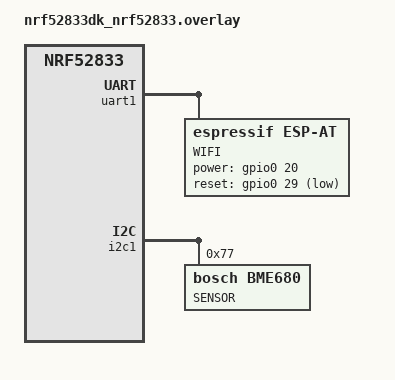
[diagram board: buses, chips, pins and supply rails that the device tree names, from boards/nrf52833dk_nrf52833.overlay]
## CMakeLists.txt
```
cmake_minimum_required(VERSION 3.20.0)
find_package(Zephyr REQUIRED HINTS $ENV{ZEPHYR_BASE})
project(weather-station)

target_sources(app PRIVATE src/main.c)
# target_sources(app PRIVATE src/easy_mqtt.c)
target_sources(app PRIVATE src/easy_wifi.c)
target_sources(app PRIVATE src/time.c)
```

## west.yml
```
manifest:
  version: "0.12"

  remotes:
    - name: github
      url-base: https://github.com

  defaults:
    remote: github
    revision: main

  projects:
    - name: zephyr
      repo-path: dp7hgh7/zephyr.git
      import: true

  self:
    path: app
```

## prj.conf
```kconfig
CONFIG_BME680=y
CONFIG_BOOT_BANNER=n
CONFIG_DNS_RESOLVER=y
CONFIG_HWINFO=y
CONFIG_I2C=y
CONFIG_LOG=y
CONFIG_LOG_MODE_IMMEDIATE=y
CONFIG_MAIN_STACK_SIZE=4096
CONFIG_MQTT_LIB=y
CONFIG_NETWORKING=y
CONFIG_NET_BUF_LOG=y
CONFIG_NET_CONFIG_NEED_IPV4=y
CONFIG_NET_LOG=y
CONFIG_NET_MGMT=y
CONFIG_NET_SOCKETS=y
CONFIG_NET_TCP=y
CONFIG_NEWLIB_LIBC=y
CONFIG_POSIX_CLOCK=y
CONFIG_SENSOR=y
CONFIG_SERIAL=y
CONFIG_SNTP=y
CONFIG_WIFI=y
CONFIG_WIFI_ESP_AT=y
CONFIG_WIFI_ESP_AT_DNS_USE=y
CONFIG_WIFI_ESP_AT_PASSIVE_MODE=y

# Needed for segger rtt
CONFIG_LEGACY_INCLUDE_PATH=y
```

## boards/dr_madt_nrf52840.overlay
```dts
&i2c0 {
	sensor: bme680@77 {
		compatible = "bosch,bme680";
		reg = <0x77>;
	};
};
```

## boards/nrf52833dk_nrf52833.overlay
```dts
&uart1 {
	status = "okay";

	wifi: esp-wifi {
		compatible = "espressif,esp-at";
		power-gpios = <&gpio0 20 GPIO_ACTIVE_HIGH>;
		reset-gpios = <&gpio0 29 GPIO_ACTIVE_LOW>;
		label = "WIFI";
	};
};

&i2c1 {
	status = "okay";

	sensor: bme680@77 {
		compatible = "bosch,bme680";
		reg = <0x77>;
		label = "SENSOR";
	};
};
```

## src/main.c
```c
#include "easy_mqtt.h"
#include "easy_wifi.h"

#include <zephyr/device.h>
#include <zephyr/drivers/sensor.h>
#include <zephyr/logging/log.h>
#include <zephyr/net/sntp.h>
#include <zephyr/posix/time.h>
#include <zephyr/usb/usb_device.h>
#include <zephyr/zephyr.h>

#define MQTT_HOST    "192.168.178.100:1883"
#define SNTP_SERVER  "pool.ntp.org"
#define SNTP_TIMEOUT 3000

#define WIFI_SSID ""
#define WIFI_PSK  ""

LOG_MODULE_REGISTER(app, LOG_LEVEL_DBG);

static int update_system_time(void)
{
	int ret;

	struct sntp_time res_sntp;
	ret = sntp_simple(SNTP_SERVER, SNTP_TIMEOUT, &res_sntp);
	if (ret) {
		return ret;
	}

	struct timespec tspec = {
		.tv_sec = CLAMP(0, res_sntp.seconds, INT64_MAX),
		.tv_nsec = CLAMP(0, ((uint64_t)res_sntp.fraction * NSEC_PER_SEC) >> 32, LONG_MAX)};
	ret = clock_settime(CLOCK_REALTIME, &tspec);
	if (ret) {
		return ret;
	}

	return 0;
}

void main(void)
{
	int ret;

	LOG_INF("Build time: " __DATE__ " " __TIME__);

	const struct device *dev_sensor = DEVICE_DT_GET(DT_NODELABEL(sensor));
	struct sensor_value temp, press, humidity, gas_res;

	while (1) {
		sensor_sample_fetch(dev_sensor);
		sensor_channel_get(dev_sensor, SENSOR_CHAN_AMBIENT_TEMP, &temp);
		sensor_channel_get(dev_sensor, SENSOR_CHAN_PRESS, &press);
		sensor_channel_get(dev_sensor, SENSOR_CHAN_HUMIDITY, &humidity);
		sensor_channel_get(dev_sensor, SENSOR_CHAN_GAS_RES, &gas_res);

		LOG_DBG("T: %d.%06d; P: %d.%06d; H: %d.%06d; G: %d.%06d", temp.val1, temp.val2,
			press.val1, press.val2, humidity.val1, humidity.val2, gas_res.val1,
			gas_res.val2);

		ret = easy_wifi_connect(WIFI_SSID, WIFI_PSK, K_SECONDS(60));
		if (ret && ret != -EALREADY) {
			LOG_ERR("easy_wifi_connect failed: %d", ret);
			goto sleep;
		}

		ret = update_system_time();
		if (ret) {
			LOG_WRN("update_system_time failed: %d", ret);
		}

		// ret = easy_mqtt_connect(MQTT_HOST);
		// if (ret) {
		// 	LOG_WRN("easy_mqtt_connect failed: %d", ret);
		// }

		time_t now = time(NULL);
		char *now_s = ctime(&now);
		LOG_INF("%s", now_s);
		// ret = easy_mqtt_publish("time", now_s, strlen(now_s));
		// if (ret) {
		// 	LOG_WRN("easy_mqtt_publish failed: %d", ret);
		// }

		// ret = easy_mqtt_disconnect();
		// if (ret && ret != -ENOTCONN) {
		// 	LOG_WRN("easy_mqtt_disconnect failed: %d", ret);
		// }

		ret = easy_wifi_disconnect(K_SECONDS(60));
		if (ret && ret != -ENOTCONN) {
			LOG_ERR("easy_wifi_disconnect failed: %d", ret);
			goto sleep;
		}

	sleep:
		k_sleep(K_SECONDS(30));
	}
}
```

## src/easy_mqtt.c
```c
#include "easy_mqtt.h"

#include <errno.h>
#include <stdio.h>

#include <zephyr/drivers/hwinfo.h>
#include <zephyr/init.h>
#include <zephyr/logging/log.h>
#include <zephyr/net/mqtt.h>
#include <zephyr/net/socketutils.h>
#include <zephyr/random/rand32.h>

#define DEVICE_ID_MAX_SIZE 8
#define CLIENT_ID_MAX_SIZE (DEVICE_ID_MAX_SIZE * 2 + 1)

#define MQTT_DEFAULT_PORT "1883"
#define MQTT_BUF_SIZE     KB(2)

LOG_MODULE_REGISTER(easy_mqtt, LOG_LEVEL_DBG);

static struct mqtt_client mqtt_client;

static struct k_poll_signal sig_connack = K_POLL_SIGNAL_INITIALIZER(sig_connack);
static struct k_poll_event evt_connack[] = {K_POLL_EVENT_STATIC_INITIALIZER(
        K_POLL_TYPE_SIGNAL, K_POLL_MODE_NOTIFY_ONLY, &sig_connack, 0)};

static struct k_poll_signal sig_disconnect = K_POLL_SIGNAL_INITIALIZER(sig_disconnect);
static struct k_poll_event evt_disconnect[] = {K_POLL_EVENT_STATIC_INITIALIZER(
        K_POLL_TYPE_SIGNAL, K_POLL_MODE_NOTIFY_ONLY, &sig_disconnect, 0)};

static struct k_poll_signal sig_puback = K_POLL_SIGNAL_INITIALIZER(sig_puback);
static struct k_poll_event evt_puback[] = {K_POLL_EVENT_STATIC_INITIALIZER(
        K_POLL_TYPE_SIGNAL, K_POLL_MODE_NOTIFY_ONLY, &sig_puback, 0)};

static int broker_init_dns(const char *host)
{
	int ret;

	static const struct addrinfo hints = {.ai_family = AF_INET, .ai_socktype = SOCK_STREAM};
	static struct addrinfo *result;

	mqtt_client.broker = NULL;

	freeaddrinfo(result);

	ret = net_getaddrinfo_addr_str(host, MQTT_DEFAULT_PORT, &hints, &result);
	if (ret) {
		return ret;
	}

	mqtt_client.broker = result->ai_addr;

	return 0;
}

int easy_mqtt_connect(const char *host)
{
	int ret;

	sys_mutex_lock(&mqtt_client.internal.mutex, K_FOREVER);

	ret = broker_init_dns(host);
	if (ret) {
		LOG_ERR("broker_init_dns failed: %d", ret);
		return ret;
	}

	sys_mutex_unlock(&mqtt_client.internal.mutex);

	k_poll_signal_reset(&sig_connack);

	ret = mqtt_connect(&mqtt_client);
	if (ret) {
		LOG_ERR("mqtt_connect failed: %d", ret);
		return ret;
	}

	ret = k_poll(evt_connack, ARRAY_SIZE(evt_connack), K_SECONDS(30));
	if (ret) {
		LOG_ERR("k_poll failed: %d", ret);
		return ret;
	}

	return evt_connack[0].signal->result;
}

int easy_mqtt_disconnect(void)
{
	int ret;

	k_poll_signal_reset(&sig_disconnect);

	ret = mqtt_disconnect(&mqtt_client);
	if (ret) {
		LOG_ERR("mqtt_disconnect failed: %d", ret);
		return ret;
	}

	ret = k_poll(evt_disconnect, ARRAY_SIZE(evt_disconnect), K_SECONDS(30));
	if (ret) {
		LOG_ERR("k_poll failed: %d", ret);
		return ret;
	}

	return evt_disconnect[0].signal->result;
}

int easy_mqtt_publish(const char *topic, const void *data, size_t data_len)
{
	int ret;

	const struct mqtt_publish_param param = {.message.topic.qos = MQTT_QOS_1_AT_LEAST_ONCE,
	                                         .message.topic.topic.utf8 = (uint8_t *)topic,
	                                         .message.topic.topic.size = strlen(topic),
	                                         .message.payload.data = (uint8_t *)data,
	                                         .message.payload.len = data_len,
	                                         .message_id = sys_rand32_get()};

	k_poll_signal_reset(&sig_puback);

	ret = mqtt_publish(&mqtt_client, &param);
	if (ret) {
		LOG_ERR("mqtt_publish failed: %d", ret);
		return ret;
	}

	ret = k_poll(evt_puback, ARRAY_SIZE(evt_puback), K_SECONDS(30));
	if (ret) {
		LOG_ERR("k_poll failed: %d", ret);
		return ret;
	}

	return evt_puback[0].signal->result;
}

// static void handle_publish(struct mqtt_client *mqtt_client, const struct mqtt_evt *event)
// {
// 	int ret;

// 	const struct mqtt_publish_param *publish_param = &event->param.publish;
// 	const struct mqtt_topic *topic = &publish_param->message.topic;
// 	const struct mqtt_binstr *payload = &publish_param->message.payload;

// 	LOG_HEXDUMP_DBG(topic->topic.utf8, topic->topic.size, "topic");

// 	char buf[payload->len];
// 	ret = mqtt_readall_publish_payload(mqtt_client, buf, payload->len);
// 	if (ret) {
// 		LOG_WRN("mqtt_readall_publish_payload failed: %d", ret);
// 	}

// 	LOG_HEXDUMP_DBG(buf, payload->len, "payload");

// 	if (topic->qos == MQTT_QOS_1_AT_LEAST_ONCE) {
// 		const struct mqtt_puback_param puback_param = {
// 			.message_id = publish_param->message_id,
// 		};

// 		ret = mqtt_publish_qos1_ack(mqtt_client, &puback_param);
// 		if (ret) {
// 			LOG_WRN("mqtt_publish_qos1_ack failed: %d", ret);
// 		}
// 	}
// }

static void mqtt_event_cb(struct mqtt_client *mqtt_client, const struct mqtt_evt *event)
{
	int ret;

	switch (event->type) {
	case MQTT_EVT_CONNACK:
		LOG_DBG("MQTT_EVT_CONNACK");
		ret = k_poll_signal_raise(&sig_connack, event->result);
		if (ret) {
			LOG_ERR("signaling (CONNACK) failed: %d", ret);
		}
		break;
	case MQTT_EVT_DISCONNECT:
		LOG_DBG("MQTT_EVT_DISCONNECT");
		ret = k_poll_signal_raise(&sig_disconnect, event->result);
		if (ret) {
			LOG_ERR("signaling (DISCONNECT) failed: %d", ret);
		}
		break;
	case MQTT_EVT_PUBLISH:
		LOG_DBG("MQTT_EVT_PUBLISH");
		// handle_publish(mqtt_client, event);
		break;
	case MQTT_EVT_PUBACK:
		LOG_DBG("MQTT_EVT_PUBACK");
		ret = k_poll_signal_raise(&sig_puback, event->result);
		if (ret) {
			LOG_ERR("signaling (PUBACK) failed: %d", ret);
		}
		break;
	case MQTT_EVT_PUBREC:
		LOG_DBG("MQTT_EVT_PUBREC");
		break;
	case MQTT_EVT_PUBREL:
		LOG_DBG("MQTT_EVT_PUBREL");
		break;
	case MQTT_EVT_PUBCOMP:
		LOG_DBG("MQTT_EVT_PUBCOMP");
		break;
	case MQTT_EVT_SUBACK:
		LOG_DBG("MQTT_EVT_SUBACK");
		break;
	case MQTT_EVT_UNSUBACK:
		LOG_DBG("MQTT_EVT_UNSUBACK");
		break;
	case MQTT_EVT_PINGRESP:
		LOG_DBG("MQTT_EVT_PINGRESP");
		break;
	}
}

static void easy_mqtt_fn()
{
	int ret;

	while (1) {
		ret = mqtt_live(&mqtt_client);
		switch (ret) {
		case 0:
		case -EAGAIN:
		case -ENOTCONN:
			break;
		default:
			LOG_WRN("mqtt_live failed: %d", ret);
			break;
		}

		ret = mqtt_input(&mqtt_client);
		switch (ret) {
		case 0:
		case -ENOTCONN:
			break;
		default:
			LOG_WRN("mqtt_input failed: %d", ret);
			break;
		}

		k_sleep(K_MSEC(100));
	}
}

K_THREAD_DEFINE(easy_mqtt, KB(4), easy_mqtt_fn, NULL, NULL, NULL, 0, 0, 0);

static int easy_mqtt_init(const struct device *dev)
{
	static uint8_t device_id[DEVICE_ID_MAX_SIZE] = {0};
	ssize_t device_id_len = hwinfo_get_device_id(device_id, sizeof(device_id));
	if (device_id_len < 0) {
		return -EINVAL;
	}

	static uint8_t client_id[CLIENT_ID_MAX_SIZE] = {0};
	size_t client_id_len = bin2hex(device_id, device_id_len, client_id, sizeof(client_id));
	if (client_id_len == 0) {
		return -EINVAL;
	}

	mqtt_client_init(&mqtt_client);

	mqtt_client.evt_cb = mqtt_event_cb;
	mqtt_client.client_id.utf8 = client_id;
	mqtt_client.client_id.size = client_id_len;

	static uint8_t rx_buf[MQTT_BUF_SIZE] = {0};
	mqtt_client.rx_buf = rx_buf;
	mqtt_client.rx_buf_size = sizeof(rx_buf);
	static uint8_t tx_buf[MQTT_BUF_SIZE] = {0};
	mqtt_client.tx_buf = tx_buf;
	mqtt_client.tx_buf_size = sizeof(tx_buf);

	return 0;
}

SYS_INIT(easy_mqtt_init, APPLICATION, CONFIG_APPLICATION_INIT_PRIORITY);
```

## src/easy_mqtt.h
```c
#ifndef EASY_MQTT_H
#define EASY_MQTT_H

#include <stddef.h>
#include <stdint.h>

int easy_mqtt_connect(const char *host);
int easy_mqtt_disconnect(void);
int easy_mqtt_publish(const char *topic, const void *data, size_t data_len);

#endif // EASY_MQTT_H
```

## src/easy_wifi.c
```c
#include "easy_wifi.h"

#include <zephyr/init.h>
#include <zephyr/logging/log.h>
#include <zephyr/net/net_event.h>
#include <zephyr/net/net_if.h>
#include <zephyr/net/net_mgmt.h>
#include <zephyr/net/wifi_mgmt.h>
#include <zephyr/zephyr.h>

LOG_MODULE_REGISTER(easy_wifi, LOG_LEVEL_DBG);

#define NET_EVENT_IPV4_SET (NET_EVENT_IPV4_ADDR_ADD)
#define NET_EVENT_L4_SET   (NET_EVENT_DNS_SERVER_ADD)
#define WIFI_EVENT_SET     (NET_EVENT_WIFI_CONNECT_RESULT | NET_EVENT_WIFI_DISCONNECT_RESULT)

static struct k_poll_signal sig_connected = K_POLL_SIGNAL_INITIALIZER(sig_connected);
static struct k_poll_signal sig_disconnected = K_POLL_SIGNAL_INITIALIZER(sig_disconnected);

static void event_handler(struct net_mgmt_event_callback *cb, uint32_t mgmt_event,
                          struct net_if *iface)
{
	int ret;

	switch (mgmt_event) {
	case NET_EVENT_IPV4_ADDR_ADD:
		LOG_DBG("NET_EVENT_IPV4_ADDR_ADD");
		break;
	case NET_EVENT_DNS_SERVER_ADD:
		LOG_DBG("NET_EVENT_DNS_SERVER_ADD");
		ret = k_poll_signal_raise(&sig_connected, 0);
		if (ret) {
			LOG_ERR("k_poll_signal_raise failed: %d", ret);
			return;
		}
		break;
	case NET_EVENT_WIFI_CONNECT_RESULT:
		LOG_DBG("NET_EVENT_WIFI_CONNECT_RESULT");
		break;
	case NET_EVENT_WIFI_DISCONNECT_RESULT:
		LOG_DBG("NET_EVENT_WIFI_DISCONNECT_RESULT");
		ret = k_poll_signal_raise(&sig_disconnected, 0);
		if (ret) {
			LOG_ERR("k_poll_signal_raise failed: %d", ret);
			return;
		}
		break;
	default:
		break;
	}
}

int easy_wifi_connect(const char *ssid, const char *psk, k_timeout_t timeout)
{
	int ret;

	while (!net_if_is_up(net_if_get_default())) {
		k_sleep(K_MSEC(100));
	}

	struct wifi_connect_req_params params = {
	        .ssid = (uint8_t *)ssid, .ssid_length = strlen(ssid), .channel = WIFI_CHANNEL_ANY};

	if (psk) {
		params.psk = (uint8_t *)psk;
		params.psk_length = strlen(psk);
		params.security = WIFI_SECURITY_TYPE_PSK;
	}

	static struct k_poll_event events[] = {K_POLL_EVENT_STATIC_INITIALIZER(
	        K_POLL_TYPE_SIGNAL, K_POLL_MODE_NOTIFY_ONLY, &sig_connected, 0)};

	k_poll_signal_reset(&sig_connected);

	ret = net_mgmt(NET_REQUEST_WIFI_CONNECT, net_if_get_default(), &params, sizeof(params));
	if (ret) {
		LOG_WRN("NET_REQUEST_WIFI_CONNECT: %d", ret);
		return ret;
	}

	ret = k_poll(events, ARRAY_SIZE(events), timeout);
	if (ret) {
		LOG_ERR("k_poll failed: %d", ret);
		return ret;
	}

	return 0;
}

int easy_wifi_disconnect(k_timeout_t timeout)
{
	int ret;

	static struct k_poll_event events[] = {K_POLL_EVENT_STATIC_INITIALIZER(
	        K_POLL_TYPE_SIGNAL, K_POLL_MODE_NOTIFY_ONLY, &sig_disconnected, 0)};

	k_poll_signal_reset(&sig_disconnected);

	ret = net_mgmt(NET_REQUEST_WIFI_DISCONNECT, net_if_get_default(), NULL, 0);
	if (ret) {
		LOG_ERR("NET_REQUEST_WIFI_DISCONNECT failed: %d", ret);
		return ret;
	}

	ret = k_poll(events, ARRAY_SIZE(events), timeout);
	if (ret) {
		LOG_ERR("k_poll failed: %d", ret);
		return ret;
	}

	return 0;
}

static int easy_wifi_init(const struct device *dev)
{
	static struct net_mgmt_event_callback wifi_event_cb;
	net_mgmt_init_event_callback(&wifi_event_cb, event_handler, WIFI_EVENT_SET);
	net_mgmt_add_event_callback(&wifi_event_cb);

	static struct net_mgmt_event_callback net_event_ipv4_cb;
	net_mgmt_init_event_callback(&net_event_ipv4_cb, event_handler, NET_EVENT_IPV4_SET);
	net_mgmt_add_event_callback(&net_event_ipv4_cb);

	static struct net_mgmt_event_callback net_event_l4_cb;
	net_mgmt_init_event_callback(&net_event_l4_cb, event_handler, NET_EVENT_L4_SET);
	net_mgmt_add_event_callback(&net_event_l4_cb);

	return 0;
}

SYS_INIT(easy_wifi_init, APPLICATION, CONFIG_APPLICATION_INIT_PRIORITY);
```

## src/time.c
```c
/*
 * Copyright (c) 2021 Golioth, Inc.
 *
 * SPDX-License-Identifier: Apache-2.0
 */

#include <time.h>

/* clock_gettime() prototype */
#include <zephyr/posix/time.h>

time_t time(time_t *tloc)
{
	struct timespec ts;
	int ret;

	ret = clock_gettime(CLOCK_REALTIME, &ts);
	if (ret < 0) {
		return ret;
	}

	if (tloc) {
		*tloc = ts.tv_sec;
	}

	return ts.tv_sec;
}
```
